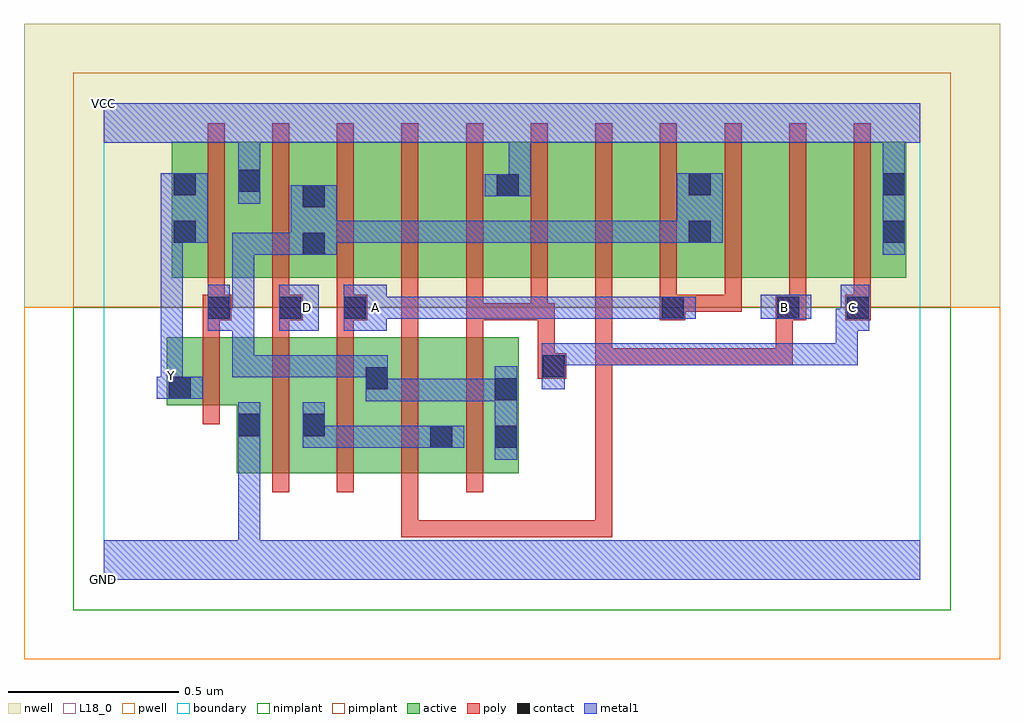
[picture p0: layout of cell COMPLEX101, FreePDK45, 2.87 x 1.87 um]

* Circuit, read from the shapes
.subckt COMPLEX101 A B C D GND VCC Y
M1 GND n1 Y VSUBS nfet w=0.2u l=0.05u
M2 n2 D GND VSUBS nfet w=0.4u l=0.05u
M3 n1 A n2 VSUBS nfet w=0.4u l=0.05u
M4 n2 B n1 VSUBS nfet w=0.4u l=0.05u
M5 n1 C n2 VSUBS nfet w=0.4u l=0.05u
M6 VCC n1 Y n3 pfet w=0.4u l=0.05u
M7 n1 D VCC n3 pfet w=0.4u l=0.05u
M8 n4 A n1 n3 pfet w=0.4u l=0.05u
M9 n5 B n4 n3 pfet w=0.4u l=0.05u
M10 VCC C n5 n3 pfet w=0.4u l=0.05u
M11 n6 C VCC n3 pfet w=0.4u l=0.05u
M12 n7 B n6 n3 pfet w=0.4u l=0.05u
M13 n1 A n7 n3 pfet w=0.4u l=0.05u
M14 n8 A n1 n3 pfet w=0.4u l=0.05u
M15 n9 B n8 n3 pfet w=0.4u l=0.05u
M16 VCC C n9 n3 pfet w=0.4u l=0.05u
.ends

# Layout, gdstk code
import gdstk
lib = gdstk.Library(unit=1e-6, precision=1e-09)
def R(c, l, rs):  # rectangles x0, y0, x1, y1
    for r in rs: c.add(gdstk.rectangle(r[:2], r[2:], *l))
def A(c, l, x, y, w, h, nx, ny, dx, dy):  # array of equal rectangles
    R(c, l, [(x+i*dx, y+j*dy, x+i*dx+w, y+j*dy+h) for i in range(nx) for j in range(ny)])
active = (1, 0)
pwell = (2, 0)
nwell = (3, 0)
nimplant = (4, 0)
pimplant = (5, 0)
poly = (9, 0)
contact = (10, 0)
metal1 = (11, 0)
L18_0 = (18, 0)
boundary = (235, 0)

complex101 = lib.new_cell('COMPLEX101')
A(complex101, active, 0.805, 0.887, 0.19, 0.4, 3, 1, 0.57, 0)
R(complex101, active, [(0.39,0.312,0.655,0.712), (0.39,0.312,0.465,0.542), (0.58,0.312,0.84,0.712), (0.765,0.312,1.03,0.712), (0.955,0.312,1.22,0.712), (0.58,0.332,0.655,0.542), (0.765,0.332,0.84,0.692), (0.955,0.345,1.03,0.537), (1.145,0.345,1.22,0.712), (0.185,0.512,0.465,0.712), (0.185,0.512,0.26,0.712), (0.2,0.887,0.465,1.287), (0.2,0.887,0.275,1.2), (0.39,0.887,0.655,1.287), (0.58,0.887,0.805,1.287), (0.995,0.887,1.225,1.287), (1.15,0.887,1.375,1.287), (1.565,0.887,1.79,1.287), (1.715,0.887,1.945,1.287), (2.135,0.887,2.36,1.287), (2.285,0.887,2.36,1.255), (0.39,0.907,0.465,1.255), (0.58,0.907,0.655,1.2), (1.15,0.907,1.225,1.255), (1.715,0.907,1.79,1.2)])
R(complex101, pwell, [(-0.235,-0.235,2.635,0.8)])
R(complex101, nwell, [(-0.235,0.8,2.635,1.635)])
R(complex101, nimplant, [(-0.09,-0.09,2.49,0.8)])
R(complex101, pimplant, [(-0.09,0.8,2.49,1.49)])
A(complex101, poly, 0.495, 0.257, 0.05, 0.51, 4, 1, 0.19, 0)
A(complex101, poly, 0.495, 0.717, 0.05, 0.095, 4, 1, 0.19, 0)
A(complex101, poly, 0.875, 0.762, 0.05, 0.12, 3, 1, 0.19, 0)
A(complex101, poly, 0.305, 0.787, 0.05, 0.095, 3, 1, 0.19, 0)
A(complex101, poly, 1.635, 0.787, 0.05, 0.095, 4, 1, 0.19, 0)
A(complex101, poly, 0.305, 0.832, 0.05, 0.51, 11, 1, 0.19, 0)
R(complex101, poly, [(0.875,0.125,0.925,0.307), (0.875,0.125,0.925,0.175), (0.875,0.125,0.925,0.175), (0.875,0.125,0.925,0.175), (0.875,0.125,1.057,0.175), (1.007,0.125,1.057,0.175), (1.007,0.125,1.057,0.175), (1.007,0.125,1.057,0.175), (1.007,0.125,1.362,0.175), (1.312,0.125,1.362,0.175), (1.312,0.125,1.362,0.175), (1.312,0.125,1.362,0.175), (1.312,0.125,1.362,0.175), (1.312,0.125,1.362,0.175), (1.312,0.125,1.495,0.175), (1.445,0.125,1.495,0.175), (1.445,0.125,1.495,0.68), (0.29,0.457,0.34,0.767), (1.275,0.59,1.36,0.665), (1.275,0.615,1.325,0.812), (1.445,0.63,1.495,0.68), (1.445,0.63,1.495,0.68), (1.445,0.63,1.495,0.68), (1.445,0.63,1.495,0.68), (1.445,0.63,1.495,0.68), (1.445,0.63,1.495,0.68), (1.445,0.63,1.495,0.68), (1.445,0.63,1.495,0.68), (1.445,0.63,1.495,0.68), (1.445,0.63,1.742,0.68), (1.445,0.63,1.495,0.882), (1.692,0.63,1.742,0.68), (1.692,0.63,1.742,0.68), (1.692,0.63,1.742,0.68), (1.692,0.63,1.892,0.68), (1.842,0.63,1.892,0.68), (1.842,0.63,1.892,0.68), (1.842,0.63,1.892,0.68), (1.842,0.63,2.025,0.68), (1.975,0.63,2.025,0.812), (1.975,0.63,2.025,0.68), (1.975,0.63,2.025,0.68), (1.975,0.63,2.025,0.68), (0.29,0.717,0.34,0.812), (0.29,0.762,0.375,0.837), (0.495,0.762,0.585,0.837), (0.685,0.762,0.775,0.837), (0.875,0.762,0.925,0.812), (1.065,0.762,1.115,0.812), (1.065,0.762,1.115,0.812), (1.065,0.762,1.115,0.812), (1.065,0.762,1.305,0.812), (1.255,0.762,1.305,0.812), (1.255,0.762,1.305,0.812), (1.255,0.762,1.325,0.812), (1.635,0.762,1.71,0.837), (1.975,0.762,2.065,0.837), (2.18,0.762,2.255,0.837), (1.66,0.787,1.71,0.837), (1.66,0.787,1.71,0.837), (1.66,0.787,1.875,0.837), (1.825,0.787,1.875,0.837)])
R(complex101, contact, [(0.96,0.387,1.025,0.452), (1.15,0.387,1.215,0.452), (0.395,0.422,0.46,0.487), (0.585,0.422,0.65,0.487), (1.15,0.527,1.215,0.592), (0.19,0.532,0.255,0.597), (0.77,0.56,0.835,0.625), (1.29,0.595,1.355,0.66), (0.305,0.767,0.37,0.832), (0.515,0.767,0.58,0.832), (0.705,0.767,0.77,0.832), (1.64,0.767,1.705,0.832), (1.98,0.767,2.045,0.832), (2.185,0.767,2.25,0.832), (0.585,0.955,0.65,1.02), (0.205,0.99,0.27,1.055), (1.72,0.99,1.785,1.055), (2.29,0.99,2.355,1.055), (0.585,1.095,0.65,1.16), (1.155,1.127,1.22,1.192), (0.205,1.13,0.27,1.195), (1.72,1.13,1.785,1.195), (2.29,1.13,2.355,1.195), (0.395,1.14,0.46,1.205)])
R(complex101, metal1, [(0,0,2.4,0.115), (0.395,0.05,0.46,0.115), (0.395,0.05,0.46,0.115), (0.395,0.05,0.46,0.115), (0.395,0.05,0.46,0.115), (0.395,0.05,0.46,0.452), (1.15,0.352,1.215,0.627), (0.395,0.387,0.46,0.522), (0.585,0.387,0.65,0.522), (0.585,0.387,0.852,0.452), (0.787,0.387,0.852,0.452), (0.787,0.387,0.852,0.452), (0.787,0.387,0.852,0.452), (0.787,0.387,0.99,0.452), (0.925,0.387,0.99,0.452), (0.925,0.387,0.99,0.452), (0.925,0.387,1.06,0.452), (0.77,0.525,1.047,0.59), (0.77,0.525,0.835,0.66), (0.982,0.525,1.047,0.59), (0.982,0.525,1.047,0.59), (0.982,0.525,1.047,0.59), (0.982,0.525,1.185,0.59), (1.12,0.525,1.185,0.59), (1.12,0.525,1.215,0.59), (0.155,0.532,0.29,0.597), (0.167,0.532,0.232,0.597), (0.167,0.532,0.232,0.667), (1.287,0.56,1.355,0.695), (0.377,0.595,0.442,0.66), (0.377,0.595,0.547,0.66), (0.377,0.595,0.442,0.797), (0.482,0.595,0.547,0.66), (0.482,0.595,0.695,0.66), (0.63,0.595,0.695,0.66), (0.63,0.595,0.835,0.66), (0.77,0.595,0.835,0.66), (0.77,0.595,0.835,0.66), (0.167,0.602,0.232,1.055), (1.287,0.63,1.352,0.695), (1.287,0.63,1.352,0.695), (1.287,0.63,1.352,0.695), (1.287,0.63,1.49,0.695), (1.287,0.63,1.355,0.695), (1.425,0.63,1.49,0.695), (1.425,0.63,1.492,0.695), (1.427,0.63,1.492,0.695), (1.427,0.63,1.627,0.695), (1.562,0.63,1.627,0.695), (1.562,0.63,1.765,0.695), (1.7,0.63,1.765,0.695), (1.7,0.63,1.765,0.695), (1.7,0.63,1.765,0.695), (1.7,0.63,1.957,0.695), (1.892,0.63,1.957,0.695), (1.892,0.63,1.957,0.695), (1.892,0.63,1.957,0.695), (1.892,0.63,2.217,0.695), (2.152,0.63,2.217,0.797), (2.152,0.63,2.217,0.695), (0.305,0.732,0.37,0.867), (0.305,0.732,0.442,0.797), (0.377,0.732,0.442,0.797), (0.377,0.732,0.442,1.02), (0.515,0.732,0.632,0.867), (0.705,0.732,0.832,0.867), (2.152,0.732,2.232,0.797), (2.152,0.732,2.217,0.797), (2.167,0.732,2.25,0.867), (0.767,0.767,0.832,0.832), (0.767,0.767,0.832,0.832), (0.767,0.767,1.047,0.832), (0.982,0.767,1.047,0.832), (0.982,0.767,1.047,0.832), (0.982,0.767,1.047,0.832), (0.982,0.767,1.215,0.832), (1.15,0.767,1.215,0.832), (1.15,0.767,1.215,0.832), (1.15,0.767,1.215,0.832), (1.15,0.767,1.352,0.832), (1.287,0.767,1.352,0.832), (1.287,0.767,1.352,0.832), (1.287,0.767,1.352,0.832), (1.287,0.767,1.49,0.832), (1.425,0.767,1.49,0.832), (1.425,0.767,1.492,0.832), (1.427,0.767,1.492,0.832), (1.427,0.767,1.67,0.832), (1.605,0.767,1.74,0.832), (1.932,0.767,2.08,0.837), (0.377,0.955,0.442,1.02), (0.377,0.955,0.547,1.02), (0.482,0.955,0.547,1.02), (0.482,0.955,0.615,1.02), (0.55,0.955,0.685,1.16), (2.29,0.955,2.355,1.23), (0.167,0.99,0.305,1.195), (0.62,0.99,0.685,1.055), (0.62,0.99,0.685,1.055), (0.62,0.99,0.832,1.055), (0.767,0.99,0.832,1.055), (0.767,0.99,0.99,1.055), (0.925,0.99,0.99,1.055), (0.925,0.99,0.99,1.055), (0.925,0.99,0.99,1.055), (0.925,0.99,1.215,1.055), (1.15,0.99,1.215,1.055), (1.15,0.99,1.215,1.055), (1.15,0.99,1.215,1.055), (1.15,0.99,1.352,1.055), (1.287,0.99,1.352,1.055), (1.287,0.99,1.352,1.055), (1.287,0.99,1.352,1.055), (1.287,0.99,1.49,1.055), (1.425,0.99,1.49,1.055), (1.425,0.99,1.612,1.055), (1.547,0.99,1.627,1.055), (1.547,0.99,1.612,1.055), (1.562,0.99,1.627,1.055), (1.562,0.99,1.75,1.055), (1.685,0.99,1.82,1.195), (0.395,1.105,0.46,1.24), (1.12,1.127,1.255,1.192), (1.19,1.127,1.255,1.35), (2.29,1.165,2.355,1.35), (0.395,1.175,0.46,1.35), (0,1.285,2.4,1.4)])
R(complex101, L18_0, [(0,0,2.4,0.115), (0.395,0.05,0.46,0.115), (0.395,0.05,0.46,0.115), (0.395,0.05,0.46,0.115), (0.395,0.05,0.46,0.115), (0.395,0.05,0.46,0.452), (0.395,0.387,0.46,0.522), (0.155,0.532,0.29,0.597), (0.167,0.532,0.232,0.667), (0.167,0.532,0.232,0.597), (1.287,0.56,1.355,0.695), (0.167,0.567,0.232,0.632), (0.167,0.602,0.232,1.055), (1.287,0.63,1.352,0.695), (1.287,0.63,1.352,0.695), (1.287,0.63,1.352,0.695), (1.287,0.63,1.355,0.695), (1.287,0.63,1.49,0.695), (1.425,0.63,1.49,0.695), (1.425,0.63,1.492,0.695), (1.427,0.63,1.492,0.695), (1.427,0.63,1.627,0.695), (1.562,0.63,1.627,0.695), (1.562,0.63,1.765,0.695), (1.7,0.63,1.765,0.695), (1.7,0.63,1.765,0.695), (1.7,0.63,1.765,0.695), (1.7,0.63,1.957,0.695), (1.892,0.63,1.957,0.695), (1.892,0.63,1.957,0.695), (1.892,0.63,1.957,0.695), (1.892,0.63,2.217,0.695), (2.152,0.63,2.217,0.695), (2.152,0.63,2.217,0.797), (0.515,0.732,0.632,0.867), (0.705,0.732,0.832,0.867), (2.152,0.732,2.217,0.797), (2.152,0.732,2.232,0.797), (2.167,0.732,2.25,0.867), (0.567,0.767,0.632,0.832), (0.767,0.767,0.832,0.832), (0.767,0.767,0.832,0.832), (0.767,0.767,0.832,0.832), (0.767,0.767,1.047,0.832), (0.982,0.767,1.047,0.832), (0.982,0.767,1.047,0.832), (0.982,0.767,1.047,0.832), (0.982,0.767,1.215,0.832), (1.15,0.767,1.215,0.832), (1.15,0.767,1.215,0.832), (1.15,0.767,1.215,0.832), (1.15,0.767,1.352,0.832), (1.287,0.767,1.352,0.832), (1.287,0.767,1.352,0.832), (1.287,0.767,1.352,0.832), (1.287,0.767,1.49,0.832), (1.425,0.767,1.49,0.832), (1.425,0.767,1.492,0.832), (1.427,0.767,1.492,0.832), (1.427,0.767,1.67,0.832), (1.605,0.767,1.74,0.832), (1.932,0.767,2.08,0.837), (1.967,0.767,2.032,0.832), (2.167,0.767,2.232,0.832), (2.29,0.955,2.355,1.23), (0.167,0.99,0.305,1.195), (0.395,1.105,0.46,1.24), (1.12,1.127,1.255,1.192), (1.19,1.127,1.255,1.35), (2.29,1.165,2.355,1.35), (0.395,1.175,0.46,1.35), (0,1.285,2.4,1.4)])
R(complex101, boundary, [(0,0,2.4,1.4)])
complex101.add(gdstk.Label('A', (0.8,0.8), layer=11, texttype=0))
complex101.add(gdstk.Label('B', (2,0.8), layer=11, texttype=0))
complex101.add(gdstk.Label('C', (2.2,0.8), layer=11, texttype=0))
complex101.add(gdstk.Label('D', (0.6,0.8), layer=11, texttype=0))
complex101.add(gdstk.Label('Y', (0.2,0.6), layer=11, texttype=0))
complex101.add(gdstk.Label('VCC', (0,1.4), layer=11, texttype=0))
complex101.add(gdstk.Label('GND', (0,0), layer=11, texttype=0))

lib.write_gds('COMPLEX101.gds')
